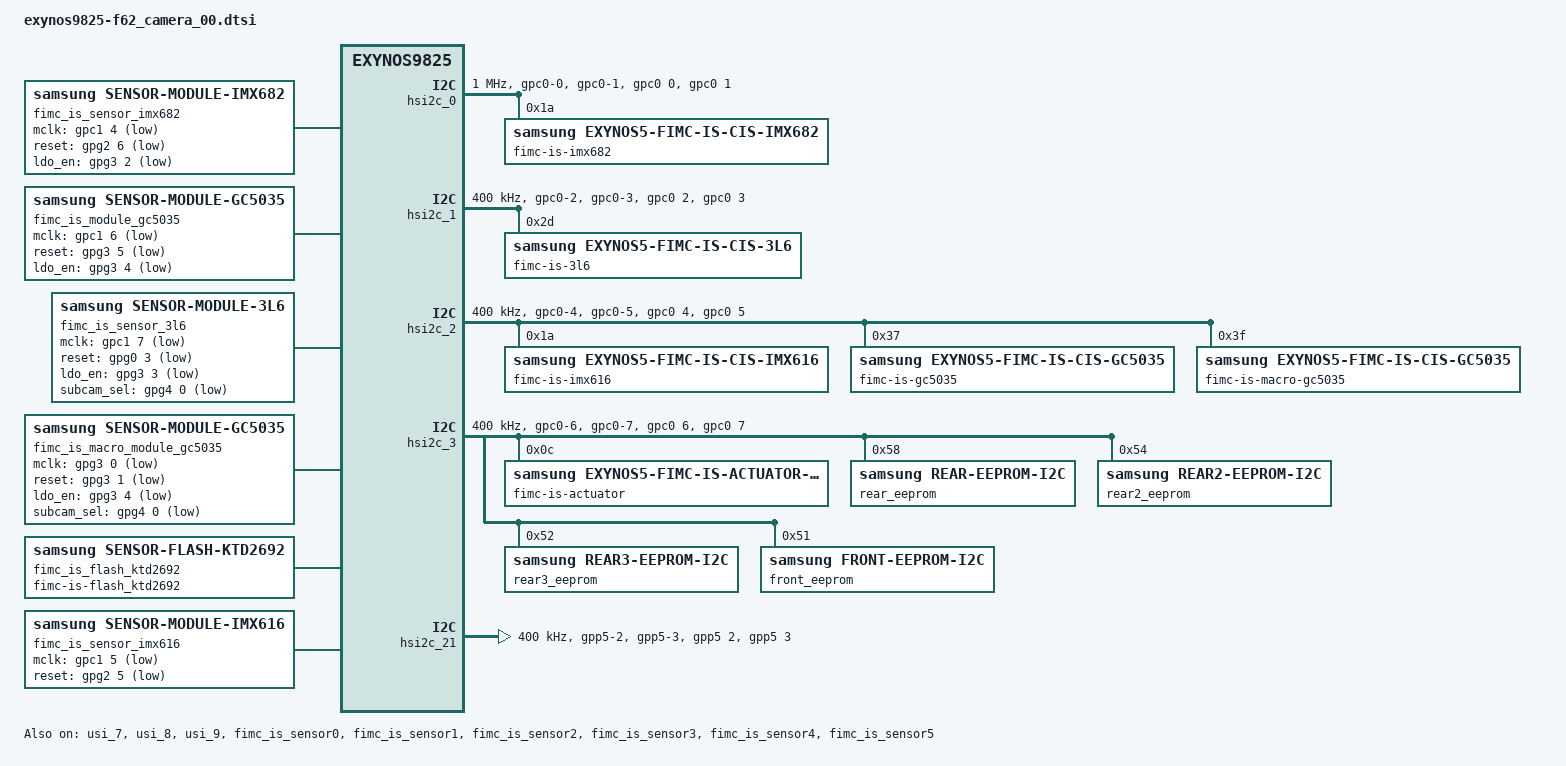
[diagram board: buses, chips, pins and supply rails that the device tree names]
/*
 * SAMSUNG EXYNOS9820 board camera device tree source
 *
 * Copyright (c) 2018 Samsung Electronics Co., Ltd.
 *		http://www.samsung.com
 *
 * This program is free software; you can redistribute it and/or modify
 * it under the terms of the GNU General Public License version 2 as
 * published by the Free Software Foundation.
*/

#include <dt-bindings/camera/fimc_is.h>

/ {
	fragment@camera {
		target-path = "/";
		__overlay__ {
			/* REAR CAMERA */
			fimc_is_sensor_imx682: fimc-is_sensor_imx682@20 {
				compatible = "samsung,sensor-module-imx682";

				pinctrl-names = "pin0", "pin1", "pin2", "release";
				pinctrl-0 = <>;
				pinctrl-1 = <&sensor_mclk0_out>;
				pinctrl-2 = <&sensor_mclk0_fn>;
				pinctrl-3 = <>;

				position = <0>;	/* Rear:0. Front:1. Rear_sub:2. Secure:3. */
				id = <0>;                     /* fimc_is_sensor id */
				mclk_ch = <0>;
				sensor_i2c_ch = <0>; /* SENSOR_CONTROL_I2C0 */

				rom_type = <2>; /* ROM_TYPE_EEPROM */
				rom_id = <0>;
				rom_cal_index = <0>;

				gpio_mclk = <&gpc1 4 0x1>;
				gpio_reset = <&gpg2 6 0x1>; /* sensor reset */
				gpio_ldo_en = <&gpg3 2 0x1>;
				status = "okay";

				af {
					product_name = <27>;     /* ACTUATOR_NAME_DW9818 */
					i2c_addr = <0x18>;
					i2c_ch = <3>;            /* SENSOR_CONTROL_I2C3 */
				};

				flash {
					product_name = <5>; /* FLASH_KTD2692 */
				};

				ois {
					product_name = <100>; /* NOTHING */
				};

				mcu {
					product_name = <100>; /* NOTHING */
				};

				aperture {
					product_name = <100>; /* NOTHING */
				};
			};

			/* REAR Sub CAMERA */
			fimc_is_module_gc5035: fimc-is_sensor_gc5035@6E {
				compatible = "samsung,sensor-module-gc5035";

				pinctrl-names = "pin0", "pin1", "pin2", "release";
				pinctrl-0 = <>;
				pinctrl-1 = <&sensor_mclk2_out>;
				pinctrl-2 = <&sensor_mclk2_fn>;
				pinctrl-3 = <>;

				position = <2>;               /* Rear:0, Front:1, Rear_sub(Rear2):2, Rear_UW(Rear3): 4 */
				id = <2>;                     /* fimc_is_sensor id */
				mclk_ch = <2>;
				sensor_i2c_ch = <2>; /* SENSOR_CONTROL_I2C2 */

				rom_type = <3>; /* ROM_TYPE_OTP */
				rom_id = <0>;
				rom_cal_index = <1>;

				gpio_mclk = <&gpc1 6 0x1>;    /* RCAM2_MCLK */
				gpio_reset = <&gpg3 5 0x1>;   /* RCAM2_RST_N */
				gpio_ldo_en = <&gpg3 4 0x1>;   /* RCAM2_RCAM4_LDO_EN: XGPIO27 - GPG3[4] */
				status = "okay";

			};


			/* REAR Third CAMERA (UW) */
			fimc_is_sensor_3l6: fimc-is_sensor_3l6@5A {
				compatible = "samsung,sensor-module-3l6";

				pinctrl-names = "pin0", "pin1", "pin2", "release";
				pinctrl-0 = <>;
				pinctrl-1 = <&sensor_mclk3_out>;
				pinctrl-2 = <&sensor_mclk3_fn>;
				pinctrl-3 = <>;

				position = <4>;               /* Rear:0, Front:1, Rear_sub(Rear2):2, Rear_UW(Rear3): 4 */
				id = <3>;                     /* fimc_is_sensor id */
				mclk_ch = <3>;

				rom_type = <2>; /* ROM_TYPE_EEPROM */
				rom_id = <2>;
				rom_cal_index = <0>;

				use_avdd_dvdd_share;
				gpio_mclk = <&gpc1 7 0x1>;    /* RCAM3_MCLK */
				gpio_reset = <&gpg0 3 0x1>;   /* RCAM3_RST_N */
				gpio_ldo_en = <&gpg3 3 0x1>;        /* RCAM3_LDO_EN: XGPIO26 - GPG3[3] */
				gpio_subcam_sel = <&gpg4 0 0x1>; /* sub cam sel */
				status = "okay";
			};

			/* REAR Macro CAMERA - REAR Four*/
			fimc_is_macro_module_gc5035: fimc-is_macro_sensor_gc5035@7E {
				compatible = "samsung,sensor-module-gc5035";

				pinctrl-names = "pin0", "pin1", "pin2", "release";
				pinctrl-0 = <>;
				pinctrl-1 = <&sensor_mclk4_out>;
				pinctrl-2 = <&sensor_mclk4_fn>;
				pinctrl-3 = <>;

				position = <6>;               /* Rear:0, Front:1, Rear_sub(Rear2):2, Rear_UW(Rear3): 4, Rear4: 6 */
				id = <4>;                     /* fimc_is_sensor id */
				mclk_ch = <4>;

				rom_type = <2>; /* ROM_TYPE_EEPROM */
				rom_id = <4>;
				rom_cal_index = <0>;

				use_2nd_module;               /* Use GC5035 as MACRO camera sensor*/
				gpio_mclk = <&gpg3 0 0x1>;    /* RCAM4_MCLK */
				gpio_reset = <&gpg3 1 0x1>;   /* RCAM4_RST_N */
				gpio_ldo_en = <&gpg3 4 0x1>;  /* RCAM4_LDO_EN: XGPIO27 - GPG3[4] */
				gpio_subcam_sel = <&gpg4 0 0x1>; /* sub cam sel */

				status = "okay";

				flash {
					product_name = <5>; /* FLASH_KTD2692 */
				};
			};

			fimc_is_flash_ktd2692: fimc-is-flash_ktd2692@0 {
				compatible = "samsung,sensor-flash-ktd2692";
				id = <0 4>; /* matching sensor id */
				status = "okay";
			};

			leds_ktd2692 {
				compatible = "ktd2692";
				flash_control = <&gpg2 3 0x1>;
				max_current = <1500>; /* (IMax) */
				flash_current = <1200>; /* (n/16)xIMax (1<=n<=16) */
				movie_current = <175>; /* (n/16)*IMax/3 (1<=n<=16) */
				factory_current = <175>; /* (n/16)xIMax/3 (1<=n<=16) */
				torch_current = <75>; /* (n/16)xIMax/3 (1<=n<=16) */
				torch_table_enable = <1>;
				torch_table = <1 2 2 3 3 4 4 4 5 5>;
				status = "okay";
				pinctrl-names ="default","host","is";
				pinctrl-0 = <&fimc_is_flash_is>;
				pinctrl-1 = <&fimc_is_flash_host>;
				pinctrl-2 = <&fimc_is_flash_is>;
			};

			/* FRONT CAMERA */
			fimc_is_sensor_imx616: fimc-is_sensor_imx616@34 {
				compatible = "samsung,sensor-module-imx616";

				pinctrl-names = "pin0", "pin1", "pin2", "release";
				pinctrl-0 = <>;
				pinctrl-1 = <&sensor_mclk1_out>;
				pinctrl-2 = <&sensor_mclk1_fn>;
				pinctrl-3 = <>;

				position = <1>;               /* Rear:0, Front:1, Rear_sub(Rear2):2, Rear_UW(Rear3): 4, Rear4: 6 */
				id = <1>;                     /* fimc_is_sensor id */
				mclk_ch = <1>;
				sensor_i2c_ch = <0>;          /* SENSOR_CONTROL_I2C1 */

				rom_type = <2>; /* ROM_TYPE_EEPROM */
				rom_id = <1>;
				rom_cal_index = <0>;
				
				gpio_mclk = <&gpc1 5 0x1>;
				gpio_reset = <&gpg2 5 0x1>;   /* FRONT_RST_N */

				status = "okay";

			};
		}; /* end of __overlay__ */
	}; /* end of fragment */
}; /* end of root */

/***** reference symbol node *****/

&fimc_is {
	pinctrl-names = "default","sleep";
	pinctrl-0 = <>;
	pinctrl-1 = <&cam_sleep_state &cam_sleep_state2 &cam_sleep_state3>;
	secure_mem_info = <0x96000000 0x2200000>;
	non_secure_mem_info = <0x98200000 0xE00000>;
	vender {
		rear_sensor_id = <124>;     /* SENSOR_NAME_IMX682 */
		front_sensor_id = <121>;    /* SENSOR_NAME_IMX616 */
		rear2_sensor_id = <210>;    /* SENSOR_NAME_GC5035 */
		rear3_sensor_id = <59>;     /* SENSOR_NAME_S5K3L6 */
		rear4_sensor_id = <210>;    /* SENSOR_NAME_GC5035 */
		need_i2c_config;
		use_module_check;
		/* skip_cal_loading; */
		check_sensor_vendor;

		max_supported_camera = <4>;// <6>;
		supported_cameraId = <0 3 50 54>;//<0 3 23 50 52 54>;
		/* REAR, FRONT, DUAL_REAR_PORTRAIT_WIDE(Bokeh), REAR_2, REAR_3, REAR_4(Macro) */

		max_camera_num = <7>;
		camera_info0 {             // 0 : sysfs rear
			internal_id = <0>;     // 0 : wide
			isp = <0>;             /* 0 : INT , 1 : EXT , 2 : SOC */
			cal_memory = <2>;      /* 0 : N , 1 : FROM , 2 : EEPROM , 3 : OTP  */
			read_version = <0>;    /* 0 : SYSFS , 1 : CAMON */
			core_voltage = <0>;    /* 0 : N , 1 : Y  */
			upgrade = <0>;         /* 0 : N , 1 : SYSFS , 2 : CAMON */
			fw_write = <0>;        /* 0 : N,  1 : OS, 2 : SD, 3 : ALL */
			fw_dump = <0>;         /* 0 : N , 1 : Y  */
			companion = <0>;       /* 0 : N , 1 : Y  */
			ois = <0>;             /* 0 : N , 1 : Y  */
			valid = <1>;           /* 0 : INVALID, 1 : VALID */
		};
		camera_info1 {             // 1 : sysfs front
			internal_id = <1>;     // 1 : front master
			isp = <0>;             /* 0 : INT , 1 : EXT , 2 : SOC */
			cal_memory = <2>;      /* 0 : N , 1 : FROM , 2 : EEPROM , 3 : OTP  */
			read_version = <0>;    /* 0 : SYSFS , 1 : CAMON */
			core_voltage = <0>;    /* 0 : N , 1 : Y  */
			upgrade = <0>;         /* 0 : N , 1 : SYSFS , 2 : CAMON */
			fw_write = <0>;        /* 0 : N,  1 : OS, 2 : SD, 3 : ALL */
			fw_dump = <0>;         /* 0 : N , 1 : Y  */
			companion = <0>;       /* 0 : N , 1 : Y  */
			ois = <0>;             /* 0 : N , 1 : Y  */
			valid = <1>;           /* 0 : INVALID, 1 : VALID */
		};
		camera_info2 {             // 2 : sysfs rear2
			internal_id = <4>;     // 4 : ultra wide
			isp = <0>;             /* 0 : INT , 1 : EXT , 2 : SOC */
			cal_memory = <2>;      /* 0 : N , 1 : FROM , 2 : EEPROM , 3 : OTP  */
			read_version = <0>;    /* 0 : SYSFS , 1 : CAMON */
			core_voltage = <0>;    /* 0 : N , 1 : Y  */
			upgrade = <0>;         /* 0 : N , 1 : SYSFS , 2 : CAMON */
			fw_write = <0>;        /* 0 : N,  1 : OS, 2 : SD, 3 : ALL */
			fw_dump = <0>;         /* 0 : N , 1 : Y  */
			companion = <0>;       /* 0 : N , 1 : Y  */
			ois = <0>;             /* 0 : N , 1 : Y  */
			valid = <1>;           /* 0 : INVALID, 1 : VALID */
		};
		camera_info3 {             // 3 : sysfs front2
			valid = <0>;           /* 0 : INVALID , 1 : VALID   */
		};
		camera_info4 {             // 4 : sysfs rear3
			internal_id = <2>;     // 2 : tele
			isp = <0>;             /* 0 : INT , 1 : EXT , 2 : SOC */
			cal_memory = <3>;      /* 0 : N , 1 : FROM , 2 : EEPROM , 3 : OTP  */
			read_version = <0>;    /* 0 : SYSFS , 1 : CAMON */
			core_voltage = <0>;    /* 0 : N , 1 : Y  */
			upgrade = <0>;         /* 0 : N , 1 : SYSFS , 2 : CAMON */
			fw_write = <0>;        /* 0 : N,  1 : OS, 2 : SD, 3 : ALL */
			fw_dump = <0>;         /* 0 : N , 1 : Y  */
			companion = <0>;       /* 0 : N , 1 : Y  */
			ois = <1>;             /* 0 : N , 1 : Y  */
			valid = <1>;           /* 0 : INVALID, 1 : VALID */
		};
		camera_info5 {             // 5 : sysfs front3
			valid = <0>;           /* 0 : INVALID , 1 : VALID   */
		};
		camera_info6 {             // 6 : sysfs rear4
			internal_id = <6>;     // 6 : macro
			isp = <0>;             /* 0 : INT , 1 : EXT , 2 : SOC */
			cal_memory = <2>;      /* 0 : N , 1 : FROM , 2 : EEPROM , 3 : OTP  */
			read_version = <0>;    /* 0 : SYSFS , 1 : CAMON */
			core_voltage = <0>;    /* 0 : N , 1 : Y  */
			upgrade = <0>;         /* 0 : N , 1 : SYSFS , 2 : CAMON */
			fw_write = <0>;        /* 0 : N,  1 : OS, 2 : SD, 3 : ALL */
			fw_dump = <0>;         /* 0 : N , 1 : Y  */
			companion = <0>;       /* 0 : N , 1 : Y  */
			ois = <1>;             /* 0 : N , 1 : Y  */
			valid = <1>;           /* 0 : INVALID, 1 : VALID */
		};
	};

	fimc_is_dvfs {
		#define DVFS_INT_CAM_L0 690000
		#define DVFS_INT_CAM_L1 680000
		#define DVFS_INT_CAM_L2 670000
		#define DVFS_INT_CAM_L3 660000
		#define DVFS_INT_CAM_L4 650000
		#define DVFS_INT_CAM_L5 640000
		#define DVFS_INT_CAM_L6 630000

		#define DVFS_INT_L0 534000
		#define DVFS_INT_L1 400000
		#define DVFS_INT_L2 267000
		#define DVFS_INT_L3 200000
		#define DVFS_INT_L4 100000

		#define DVFS_CAM_L0 690000
		#define DVFS_CAM_L1 680000
		#define DVFS_CAM_L2 670000
		#define DVFS_CAM_L3 660000
		#define DVFS_CAM_L4 650000

		#define DVFS_MIF_L0 2094000 /* Currently be disabled */
		#define DVFS_MIF_L1 2093000
		#define DVFS_MIF_L2 1794000
		#define DVFS_MIF_L3 1539000
		#define DVFS_MIF_L4 1352000
		#define DVFS_MIF_L5 1014000
		#define DVFS_MIF_L6 845000
		#define DVFS_MIF_L7 676000
		#define DVFS_MIF_L8 546000
		#define DVFS_MIF_L9 421000

		table0 {
			desc = "dvfs table v0.3 for 12M/10M";

			default_int_cam = <DVFS_INT_CAM_L0>;
			default_cam = <DVFS_CAM_L0>;
			default_mif = <DVFS_MIF_L1>;
			default_int = <DVFS_INT_L4>;
			default_hpg = <1>;

			front2_preview_int_cam = <DVFS_INT_CAM_L5>;
			front2_preview_cam = <DVFS_CAM_L1>;
			front2_preview_mif = <DVFS_MIF_L4>;
			front2_preview_int = <DVFS_INT_L4>;
			front2_preview_hpg = <1>;

			front2_capture_int_cam = <DVFS_INT_CAM_L5>;
			front2_capture_cam = <DVFS_CAM_L1>;
			front2_capture_mif = <DVFS_MIF_L4>;
			front2_capture_int = <DVFS_INT_L4>;
			front2_capture_hpg = <1>;

			front2_video_int_cam = <DVFS_INT_CAM_L5>;
			front2_video_cam = <DVFS_CAM_L1>;
			front2_video_mif = <DVFS_MIF_L4>;
			front2_video_int = <DVFS_INT_L4>;
			front2_video_hpg = <1>;

			front2_video_capture_int_cam = <DVFS_INT_CAM_L5>;
			front2_video_capture_cam = <DVFS_CAM_L1>;
			front2_video_capture_mif = <DVFS_MIF_L4>;
			front2_video_capture_int = <DVFS_INT_L4>;
			front2_video_capture_hpg = <1>;

			front_preview_int_cam = <DVFS_INT_CAM_L5>;
			front_preview_cam = <DVFS_CAM_L1>;
			front_preview_mif = <DVFS_MIF_L4>;
			front_preview_int = <DVFS_INT_L4>;
			front_preview_hpg = <1>;

			front_preview_full_int_cam = <DVFS_INT_CAM_L5>;
			front_preview_full_cam = <DVFS_CAM_L1>;
			front_preview_full_mif = <DVFS_MIF_L4>;
			front_preview_full_int = <DVFS_INT_L4>;
			front_preview_full_hpg = <1>;

			front_capture_int_cam = <DVFS_INT_CAM_L5>;
			front_capture_cam = <DVFS_CAM_L1>;
			front_capture_mif = <DVFS_MIF_L4>;
			front_capture_int = <DVFS_INT_L4>;
			front_capture_hpg = <1>;

			front_video_int_cam = <DVFS_INT_CAM_L5>;
			front_video_cam = <DVFS_CAM_L1>;
			front_video_mif = <DVFS_MIF_L4>;
			front_video_int = <DVFS_INT_L4>;
			front_video_hpg = <1>;

			front_video_whd_int_cam = <DVFS_INT_CAM_L5>;
			front_video_whd_cam = <DVFS_CAM_L1>;
			front_video_whd_mif = <DVFS_MIF_L4>;
			front_video_whd_int = <DVFS_INT_L4>;
			front_video_whd_hpg = <1>;

			front_video_uhd_int_cam = <DVFS_INT_CAM_L5>;
			front_video_uhd_cam = <DVFS_CAM_L1>;
			front_video_uhd_mif = <DVFS_MIF_L4>;
			front_video_uhd_int = <DVFS_INT_L4>;
			front_video_uhd_hpg = <1>;

			front_video_fhd_60fps_int_cam = <DVFS_INT_CAM_L3>;
			front_video_fhd_60fps_cam = <DVFS_CAM_L1>;
			front_video_fhd_60fps_mif = <DVFS_MIF_L4>;
			front_video_fhd_60fps_int = <DVFS_INT_L4>;
			front_video_fhd_60fps_hpg = <1>;

			front_video_uhd_60fps_int_cam = <DVFS_INT_CAM_L3>;
			front_video_uhd_60fps_cam = <DVFS_CAM_L1>;
			front_video_uhd_60fps_mif = <DVFS_MIF_L3>;
			front_video_uhd_60fps_int = <DVFS_INT_L4>;
			front_video_uhd_60fps_hpg = <1>;

			front_video_capture_int_cam = <DVFS_INT_CAM_L5>;
			front_video_capture_cam = <DVFS_CAM_L1>;
			front_video_capture_mif = <DVFS_MIF_L4>;
			front_video_capture_int = <DVFS_INT_L4>;
			front_video_capture_hpg = <1>;

			front_video_whd_capture_int_cam = <DVFS_INT_CAM_L5>;
			front_video_whd_capture_cam = <DVFS_CAM_L1>;
			front_video_whd_capture_mif = <DVFS_MIF_L4>;
			front_video_whd_capture_int = <DVFS_INT_L4>;
			front_video_whd_capture_hpg = <1>;

			front_video_uhd_capture_int_cam = <DVFS_INT_CAM_L5>;
			front_video_uhd_capture_cam = <DVFS_CAM_L1>;
			front_video_uhd_capture_mif = <DVFS_MIF_L4>;
			front_video_uhd_capture_int = <DVFS_INT_L4>;
			front_video_uhd_capture_hpg = <1>;

			front_video_uhd_60fps_capture_int_cam = <DVFS_INT_CAM_L4>;
			front_video_uhd_60fps_capture_cam = <DVFS_CAM_L1>;
			front_video_uhd_60fps_capture_mif = <DVFS_MIF_L3>;
			front_video_uhd_60fps_capture_int = <DVFS_INT_L4>;
			front_video_uhd_60fps_capture_hpg = <1>;

			front_video_fhd_60fps_capture_int_cam = <DVFS_INT_CAM_L3>;
			front_video_fhd_60fps_capture_cam = <DVFS_CAM_L1>;
			front_video_fhd_60fps_capture_mif = <DVFS_MIF_L3>;
			front_video_fhd_60fps_capture_int = <DVFS_INT_L4>;
			front_video_fhd_60fps_capture_hpg = <1>;

			front_dual_sync_preview_int_cam = <DVFS_INT_CAM_L3>;
			front_dual_sync_preview_cam = <DVFS_CAM_L1>;
			front_dual_sync_preview_mif = <DVFS_MIF_L4>;
			front_dual_sync_preview_int = <DVFS_INT_L4>;
			front_dual_sync_preview_hpg = <1>;

			front_dual_sync_capture_int_cam = <DVFS_INT_CAM_L3>;
			front_dual_sync_capture_cam = <DVFS_CAM_L1>;
			front_dual_sync_capture_mif = <DVFS_MIF_L3>;
			front_dual_sync_capture_int = <DVFS_INT_L4>;
			front_dual_sync_capture_hpg = <1>;

			front_dual_sync_video_fhd_int_cam = <DVFS_INT_CAM_L3>;
			front_dual_sync_video_fhd_cam = <DVFS_CAM_L1>;
			front_dual_sync_video_fhd_mif = <DVFS_MIF_L4>;
			front_dual_sync_video_fhd_int = <DVFS_INT_L4>;
			front_dual_sync_video_fhd_hpg = <1>;

			front_dual_sync_video_fhd_capture_int_cam = <DVFS_INT_CAM_L3>;
			front_dual_sync_video_fhd_capture_cam = <DVFS_CAM_L1>;
			front_dual_sync_video_fhd_capture_mif = <DVFS_MIF_L3>;
			front_dual_sync_video_fhd_capture_int = <DVFS_INT_L4>;
			front_dual_sync_video_fhd_capture_hpg = <1>;

			front_vt1_int_cam = <DVFS_INT_CAM_L5>;
			front_vt1_cam = <DVFS_CAM_L1>;
			front_vt1_mif = <DVFS_MIF_L4>;
			front_vt1_int = <DVFS_INT_L4>;
			front_vt1_hpg = <1>;

			front_vt2_int_cam = <DVFS_INT_CAM_L5>;
			front_vt2_cam = <DVFS_CAM_L1>;
			front_vt2_mif = <DVFS_MIF_L4>;
			front_vt2_int = <DVFS_INT_L4>;
			front_vt2_hpg = <1>;

			front_vt4_int_cam = <DVFS_INT_CAM_L5>;
			front_vt4_cam = <DVFS_CAM_L1>;
			front_vt4_mif = <DVFS_MIF_L4>;
			front_vt4_int = <DVFS_INT_L4>;
			front_vt4_hpg = <1>;

			front_preview_high_speed_fps_int_cam = <DVFS_INT_CAM_L5>;
			front_preview_high_speed_fps_cam = <DVFS_CAM_L1>;
			front_preview_high_speed_fps_mif = <DVFS_MIF_L4>;
			front_preview_high_speed_fps_int = <DVFS_INT_L4>;
			front_preview_high_speed_fps_hpg = <1>;

			front_video_high_speed_120fps_int_cam = <DVFS_INT_CAM_L3>;
			front_video_high_speed_120fps_cam = <DVFS_CAM_L1>;
			front_video_high_speed_120fps_mif = <DVFS_MIF_L3>;
			front_video_high_speed_120fps_int = <DVFS_INT_L4>;
			front_video_high_speed_120fps_hpg = <1>;

			front_video_high_speed_240fps_int_cam = <DVFS_INT_CAM_L3>;
			front_video_high_speed_240fps_cam = <DVFS_CAM_L1>;
			front_video_high_speed_240fps_mif = <DVFS_MIF_L3>;
			front_video_high_speed_240fps_int = <DVFS_INT_L4>;
			front_video_high_speed_240fps_hpg = <1>;

			rear4_preview_fhd_int_cam = <DVFS_INT_CAM_L5>;
			rear4_preview_fhd_cam = <DVFS_CAM_L1>;
			rear4_preview_fhd_mif = <DVFS_MIF_L4>;
			rear4_preview_fhd_int = <DVFS_INT_L4>;
			rear4_preview_fhd_hpg = <1>;

			rear4_capture_int_cam = <DVFS_INT_CAM_L3>;
			rear4_capture_cam = <DVFS_CAM_L1>;
			rear4_capture_mif = <DVFS_MIF_L4>;
			rear4_capture_int = <DVFS_INT_L4>;
			rear4_capture_hpg = <1>;

			rear3_preview_fhd_int_cam = <DVFS_INT_CAM_L5>;
			rear3_preview_fhd_cam = <DVFS_CAM_L1>;
			rear3_preview_fhd_mif = <DVFS_MIF_L4>;
			rear3_preview_fhd_int = <DVFS_INT_L4>;
			rear3_preview_fhd_hpg = <1>;

			rear3_capture_int_cam = <DVFS_INT_CAM_L3>;
			rear3_capture_cam = <DVFS_CAM_L1>;
			rear3_capture_mif = <DVFS_MIF_L4>;
			rear3_capture_int = <DVFS_INT_L4>;
			rear3_capture_hpg = <1>;

			rear3_video_fhd_int_cam = <DVFS_INT_CAM_L4>;
			rear3_video_fhd_cam = <DVFS_CAM_L1>;
			rear3_video_fhd_mif = <DVFS_MIF_L4>;
			rear3_video_fhd_int = <DVFS_INT_L4>;
			rear3_video_fhd_hpg = <1>;

			rear3_video_fhd_capture_int_cam = <DVFS_INT_CAM_L3>;
			rear3_video_fhd_capture_cam = <DVFS_CAM_L1>;
			rear3_video_fhd_capture_mif = <DVFS_MIF_L4>;
			rear3_video_fhd_capture_int = <DVFS_INT_L4>;
			rear3_video_fhd_capture_hpg = <1>;

			rear2_preview_fhd_int_cam = <DVFS_INT_CAM_L5>;
			rear2_preview_fhd_cam = <DVFS_CAM_L1>;
			rear2_preview_fhd_mif = <DVFS_MIF_L4>;
			rear2_preview_fhd_int = <DVFS_INT_L4>;
			rear2_preview_fhd_hpg = <1>;

			rear2_capture_int_cam = <DVFS_INT_CAM_L3>;
			rear2_capture_cam = <DVFS_CAM_L1>;
			rear2_capture_mif = <DVFS_MIF_L4>;
			rear2_capture_int = <DVFS_INT_L4>;
			rear2_capture_hpg = <1>;

			rear2_video_fhd_int_cam = <DVFS_INT_CAM_L4>;
			rear2_video_fhd_cam = <DVFS_CAM_L1>;
			rear2_video_fhd_mif = <DVFS_MIF_L4>;
			rear2_video_fhd_int = <DVFS_INT_L4>;
			rear2_video_fhd_hpg = <1>;

			rear2_video_fhd_capture_int_cam = <DVFS_INT_CAM_L3>;
			rear2_video_fhd_capture_cam = <DVFS_CAM_L1>;
			rear2_video_fhd_capture_mif = <DVFS_MIF_L4>;
			rear2_video_fhd_capture_int = <DVFS_INT_L4>;
			rear2_video_fhd_capture_hpg = <1>;

			rear_preview_fhd_int_cam = <DVFS_INT_CAM_L5>;
			rear_preview_fhd_cam = <DVFS_CAM_L1>;
			rear_preview_fhd_mif = <DVFS_MIF_L4>;
			rear_preview_fhd_int = <DVFS_INT_L4>;
			rear_preview_fhd_hpg = <1>;

			rear_preview_whd_int_cam = <DVFS_INT_CAM_L5>;
			rear_preview_whd_cam = <DVFS_CAM_L1>;
			rear_preview_whd_mif = <DVFS_MIF_L4>;
			rear_preview_whd_int = <DVFS_INT_L4>;
			rear_preview_whd_hpg = <1>;

			rear_preview_uhd_int_cam = <DVFS_INT_CAM_L5>;
			rear_preview_uhd_cam = <DVFS_CAM_L1>;
			rear_preview_uhd_mif = <DVFS_MIF_L4>;
			rear_preview_uhd_int = <DVFS_INT_L4>;
			rear_preview_uhd_hpg = <1>;

			rear_preview_uhd_60fps_int_cam = <DVFS_INT_CAM_L3>;
			rear_preview_uhd_60fps_cam = <DVFS_CAM_L1>;
			rear_preview_uhd_60fps_mif = <DVFS_MIF_L3>;
			rear_preview_uhd_60fps_int = <DVFS_INT_L4>;
			rear_preview_uhd_60fps_hpg = <1>;

			rear_preview_full_int_cam = <DVFS_INT_CAM_L3>;
			rear_preview_full_cam = <DVFS_CAM_L1>;
			rear_preview_full_mif = <DVFS_MIF_L4>;
			rear_preview_full_int = <DVFS_INT_L4>;
			rear_preview_full_hpg = <1>;

			rear_capture_int_cam = <DVFS_INT_CAM_L3>;
			rear_capture_cam = <DVFS_CAM_L1>;
			rear_capture_mif = <DVFS_MIF_L4>;
			rear_capture_int = <DVFS_INT_L4>;
			rear_capture_hpg = <1>;

			rear_video_fhd_int_cam = <DVFS_INT_CAM_L4>;
			rear_video_fhd_cam = <DVFS_CAM_L1>;
			rear_video_fhd_mif = <DVFS_MIF_L4>;
			rear_video_fhd_int = <DVFS_INT_L4>;
			rear_video_fhd_hpg = <1>;

			rear_video_whd_int_cam = <DVFS_INT_CAM_L5>;
			rear_video_whd_cam = <DVFS_CAM_L1>;
			rear_video_whd_mif = <DVFS_MIF_L4>;
			rear_video_whd_int = <DVFS_INT_L4>;
			rear_video_whd_hpg = <1>;

			rear_video_uhd_int_cam = <DVFS_INT_CAM_L3>;
			rear_video_uhd_cam = <DVFS_CAM_L1>;
			rear_video_uhd_mif = <DVFS_MIF_L4>;
			rear_video_uhd_int = <DVFS_INT_L4>;
			rear_video_uhd_hpg = <1>;

			rear_video_uhd_60fps_int_cam = <DVFS_INT_CAM_L4>;
			rear_video_uhd_60fps_cam = <DVFS_CAM_L1>;
			rear_video_uhd_60fps_mif = <DVFS_MIF_L3>;
			rear_video_uhd_60fps_int = <DVFS_INT_L4>;
			rear_video_uhd_60fps_hpg = <1>;

			rear_video_fhd_capture_int_cam = <DVFS_INT_CAM_L3>;
			rear_video_fhd_capture_cam = <DVFS_CAM_L1>;
			rear_video_fhd_capture_mif = <DVFS_MIF_L4>;
			rear_video_fhd_capture_int = <DVFS_INT_L4>;
			rear_video_fhd_capture_hpg = <1>;

			rear_video_whd_capture_int_cam = <DVFS_INT_CAM_L3>;
			rear_video_whd_capture_cam = <DVFS_CAM_L1>;
			rear_video_whd_capture_mif = <DVFS_MIF_L4>;
			rear_video_whd_capture_int = <DVFS_INT_L4>;
			rear_video_whd_capture_hpg = <1>;

			rear_video_uhd_capture_int_cam = <DVFS_INT_CAM_L3>;
			rear_video_uhd_capture_cam = <DVFS_CAM_L1>;
			rear_video_uhd_capture_mif = <DVFS_MIF_L4>;
			rear_video_uhd_capture_int = <DVFS_INT_L4>;
			rear_video_uhd_capture_hpg = <1>;

			dual_preview_int_cam = <DVFS_INT_CAM_L5>;
			dual_preview_cam = <DVFS_CAM_L1>;
			dual_preview_mif = <DVFS_MIF_L4>;
			dual_preview_int = <DVFS_INT_L4>;
			dual_preview_hpg = <1>;

			dual_capture_int_cam = <DVFS_INT_CAM_L3>;
			dual_capture_cam = <DVFS_CAM_L1>;
			dual_capture_mif = <DVFS_MIF_L4>;
			dual_capture_int = <DVFS_INT_L4>;
			dual_capture_hpg = <1>;

			dual_video_fhd_int_cam = <DVFS_INT_CAM_L4>;
			dual_video_fhd_cam = <DVFS_CAM_L1>;
			dual_video_fhd_mif = <DVFS_MIF_L4>;
			dual_video_fhd_int = <DVFS_INT_L4>;
			dual_video_fhd_hpg = <1>;

			dual_video_fhd_capture_int_cam = <DVFS_INT_CAM_L3>;
			dual_video_fhd_capture_cam = <DVFS_CAM_L1>;
			dual_video_fhd_capture_mif = <DVFS_MIF_L4>;
			dual_video_fhd_capture_int = <DVFS_INT_L4>;
			dual_video_fhd_capture_hpg = <1>;

			dual_video_uhd_int_cam = <DVFS_INT_CAM_L3>;
			dual_video_uhd_cam = <DVFS_CAM_L1>;
			dual_video_uhd_mif = <DVFS_MIF_L4>;
			dual_video_uhd_int = <DVFS_INT_L4>;
			dual_video_uhd_hpg = <1>;

			dual_video_uhd_capture_int_cam = <DVFS_INT_CAM_L3>;
			dual_video_uhd_capture_cam = <DVFS_CAM_L1>;
			dual_video_uhd_capture_mif = <DVFS_MIF_L4>;
			dual_video_uhd_capture_int = <DVFS_INT_L4>;
			dual_video_uhd_capture_hpg = <1>;

			dual_sync_preview_int_cam = <DVFS_INT_CAM_L3>;
			dual_sync_preview_cam = <DVFS_CAM_L1>;
			dual_sync_preview_mif = <DVFS_MIF_L4>;
			dual_sync_preview_int = <DVFS_INT_L4>;
			dual_sync_preview_hpg = <1>;

			dual_sync_capture_int_cam = <DVFS_INT_CAM_L3>;
			dual_sync_capture_cam = <DVFS_CAM_L1>;
			dual_sync_capture_mif = <DVFS_MIF_L3>;
			dual_sync_capture_int = <DVFS_INT_L3>;
			dual_sync_capture_hpg = <1>;

			dual_sync_preview_whd_int_cam = <DVFS_INT_CAM_L3>;
			dual_sync_preview_whd_cam = <DVFS_CAM_L1>;
			dual_sync_preview_whd_mif = <DVFS_MIF_L3>;
			dual_sync_preview_whd_int = <DVFS_INT_L4>;
			dual_sync_preview_whd_hpg = <1>;

			dual_sync_whd_capture_int_cam = <DVFS_INT_CAM_L3>;
			dual_sync_whd_capture_cam = <DVFS_CAM_L1>;
			dual_sync_whd_capture_mif = <DVFS_MIF_L3>;
			dual_sync_whd_capture_int = <DVFS_INT_L4>;
			dual_sync_whd_capture_hpg = <1>;

			dual_sync_video_fhd_int_cam = <DVFS_INT_CAM_L3>;
			dual_sync_video_fhd_cam = <DVFS_CAM_L1>;
			dual_sync_video_fhd_mif = <DVFS_MIF_L4>;
			dual_sync_video_fhd_int = <DVFS_INT_L4>;
			dual_sync_video_fhd_hpg = <1>;

			dual_sync_video_fhd_capture_int_cam = <DVFS_INT_CAM_L3>;
			dual_sync_video_fhd_capture_cam = <DVFS_CAM_L1>;
			dual_sync_video_fhd_capture_mif = <DVFS_MIF_L3>;
			dual_sync_video_fhd_capture_int = <DVFS_INT_L4>;
			dual_sync_video_fhd_capture_hpg = <1>;

			dual_sync_video_uhd_int_cam = <DVFS_INT_CAM_L3>;
			dual_sync_video_uhd_cam = <DVFS_CAM_L1>;
			dual_sync_video_uhd_mif = <DVFS_MIF_L4>;
			dual_sync_video_uhd_int = <DVFS_INT_L4>;
			dual_sync_video_uhd_hpg = <1>;

			dual_sync_video_uhd_capture_int_cam = <DVFS_INT_CAM_L3>;
			dual_sync_video_uhd_capture_cam = <DVFS_CAM_L1>;
			dual_sync_video_uhd_capture_mif = <DVFS_MIF_L3>;
			dual_sync_video_uhd_capture_int = <DVFS_INT_L4>;
			dual_sync_video_uhd_capture_hpg = <1>;

			secure_front_int_cam = <DVFS_INT_CAM_L5>;
			secure_front_cam = <DVFS_CAM_L1>;
			secure_front_mif = <DVFS_MIF_L4>;
			secure_front_int = <DVFS_INT_L4>;
			secure_front_hpg = <1>;

			pip_preview_int_cam = <DVFS_INT_CAM_L3>;
			pip_preview_cam = <DVFS_CAM_L1>;
			pip_preview_mif = <DVFS_MIF_L4>;
			pip_preview_int = <DVFS_INT_L4>;
			pip_preview_hpg = <1>;

			pip_capture_int_cam = <DVFS_INT_CAM_L3>;
			pip_capture_cam = <DVFS_CAM_L1>;
			pip_capture_mif = <DVFS_MIF_L4>;
			pip_capture_int = <DVFS_INT_L4>;
			pip_capture_hpg = <1>;

			pip_video_int_cam = <DVFS_INT_CAM_L3>;
			pip_video_cam = <DVFS_CAM_L1>;
			pip_video_mif = <DVFS_MIF_L4>;
			pip_video_int = <DVFS_INT_L4>;
			pip_video_hpg = <1>;

			pip_video_capture_int_cam = <DVFS_INT_CAM_L3>;
			pip_video_capture_cam = <DVFS_CAM_L1>;
			pip_video_capture_mif = <DVFS_MIF_L4>;
			pip_video_capture_int = <DVFS_INT_L4>;
			pip_video_capture_hpg = <1>;

			preview_high_speed_fps_int_cam = <DVFS_INT_CAM_L5>;
			preview_high_speed_fps_cam = <DVFS_CAM_L1>;
			preview_high_speed_fps_mif = <DVFS_MIF_L4>;
			preview_high_speed_fps_int = <DVFS_INT_L4>;
			preview_high_speed_fps_hpg = <1>;

			video_high_speed_60fps_int_cam = <DVFS_INT_CAM_L3>;
			video_high_speed_60fps_cam = <DVFS_CAM_L1>;
			video_high_speed_60fps_mif = <DVFS_MIF_L4>;
			video_high_speed_60fps_int = <DVFS_INT_L4>;
			video_high_speed_60fps_hpg = <1>;

			video_high_speed_120fps_int_cam = <DVFS_INT_CAM_L3>;
			video_high_speed_120fps_cam = <DVFS_CAM_L1>;
			video_high_speed_120fps_mif = <DVFS_MIF_L4>;
			video_high_speed_120fps_int = <DVFS_INT_L4>;
			video_high_speed_120fps_hpg = <1>;

			video_high_speed_240fps_int_cam = <DVFS_INT_CAM_L3>;
			video_high_speed_240fps_cam = <DVFS_CAM_L1>;
			video_high_speed_240fps_mif = <DVFS_MIF_L3>;
			video_high_speed_240fps_int = <DVFS_INT_L4>;
			video_high_speed_240fps_hpg = <1>;

			video_high_speed_dualfps_int_cam = <DVFS_INT_CAM_L3>;
			video_high_speed_dualfps_cam = <DVFS_CAM_L1>;
			video_high_speed_dualfps_mif = <DVFS_MIF_L3>;
			video_high_speed_dualfps_int = <DVFS_INT_L4>;
			video_high_speed_dualfps_hpg = <6>;

			video_high_speed_60fps_capture_int_cam = <DVFS_INT_CAM_L3>;
			video_high_speed_60fps_capture_cam = <DVFS_CAM_L1>;
			video_high_speed_60fps_capture_mif = <DVFS_MIF_L3>;
			video_high_speed_60fps_capture_int = <DVFS_INT_L4>;
			video_high_speed_60fps_capture_hpg = <1>;

			ext_rear_int_cam = <DVFS_INT_CAM_L5>;
			ext_rear_cam = <DVFS_CAM_L1>;
			ext_rear_mif = <DVFS_MIF_L4>;
			ext_rear_int = <DVFS_INT_L4>;
			ext_rear_hpg = <1>;

			ext_front_int_cam = <DVFS_INT_CAM_L5>;
			ext_front_cam = <DVFS_CAM_L1>;
			ext_front_mif = <DVFS_MIF_L4>;
			ext_front_int = <DVFS_INT_L4>;
			ext_front_hpg = <1>;

			ext_secure_int_cam = <DVFS_INT_CAM_L5>;
			ext_secure_cam = <DVFS_CAM_L3>;
			ext_secure_mif = <DVFS_MIF_L4>;
			ext_secure_int = <DVFS_INT_L4>;
			ext_secure_hpg = <1>;

			max_int_cam = <DVFS_INT_CAM_L0>;
			max_cam = <DVFS_CAM_L0>;
			max_mif = <DVFS_MIF_L1>;
			max_int = <DVFS_INT_L0>;
			max_hpg = <1>;
		};
	};
};

&pinctrl_6 {
	/* PERIC1 CAM0 */
	hsi2c0_bus_in: hsi2c0-bus-in {
		samsung,pins = "gpc0-0", "gpc0-1";
		samsung,pin-function = <0>;
		samsung,pin-pud = <0>;
		samsung,pin-drv = <0>;
		samsung,pin-pud-pdn = <0>;
	};

	/* PERIC1 CAM1 */
	hsi2c1_bus_in: hsi2c1-bus-in {
		samsung,pins = "gpc0-2", "gpc0-3";
		samsung,pin-function = <0>;
		samsung,pin-pud = <0>;
		samsung,pin-drv = <0>;
	};

	/* PERIC1 CAM2 */
	hsi2c2_bus_in: hsi2c2-bus-in {
		samsung,pins = "gpc0-4", "gpc0-5";
		samsung,pin-function = <0>;
		samsung,pin-pud = <0>;
		samsung,pin-drv = <0>;
	};

	/* PERIC1 CAM3 */
	hsi2c3_bus_in: hsi2c3-bus-in {
		samsung,pins = "gpc0-6", "gpc0-7";
		samsung,pin-function = <0>;
		samsung,pin-pud = <0>;
		samsung,pin-drv = <0>;
	};

	/* PERIC1 USI08_I2C */
	hsi2c21_bus_in: hsi2c21-bus-in {
		samsung,pins = "gpp5-2", "gpp5-3";
		samsung,pin-function = <0>;
		samsung,pin-pud = <0>;
		samsung,pin-drv = <0>;
	};

	/* PERIC1 USI09 */
	hsi2c22_bus_in: hsi2c22-bus-in {
		samsung,pins = "gpp5-4", "gpp5-5";
		samsung,pin-function = <0>;
		samsung,pin-pud = <0>;
		samsung,pin-drv = <0>;
	};

	/* PERIC1 CAM0 */
	from_spi_pin0_out: from-spi-pin0-out {
		samsung,pins = "gpc1-2", "gpc1-1", "gpc1-0";
		samsung,pin-function = <1>;
		samsung,pin-pud = <1>;
		samsung,pin-drv = <0>;
		samsung,pin-val = <0>;
	};

	from_spi_pin0_fn: from-spi-pin0-fn {
		samsung,pins = "gpc1-2", "gpc1-1", "gpc1-0";
		samsung,pin-function = <2>;
		samsung,pin-pud = <0>;
		samsung,pin-drv = <0>;
		samsung,pin-val = <0>;
	};

	from_spi_ssn0_out: from-spi-ssn0-out {
		samsung,pins = "gpc1-3";
		samsung,pin-function = <1>;
		samsung,pin-pud = <0>;
		samsung,pin-drv = <0>;
	};

	from_spi_ssn0_fn: from-spi-ssn0-fn {
		samsung,pins = "gpc1-3";
		samsung,pin-function = <2>;
		samsung,pin-pud = <0>;
		samsung,pin-drv = <0>;
	};

	from_spi_ssn0_inpd: from-spi-ssn0-inpd {
		samsung,pins = "gpc1-3";
		samsung,pin-function = <0>;
		samsung,pin-pud = <1>;
		samsung,pin-drv = <0>;
	};

	from_spi_ssn0_inpu: from-spi-ssn0-inpu {
		samsung,pins = "gpc1-3";
		samsung,pin-function = <0>;
		samsung,pin-pud = <3>;
		samsung,pin-drv = <0>;
	};

	hsi2c37_bus_in: hsi2c37-bus-in {
		samsung,pins = "gph0-4", "gph0-5";
		samsung,pin-function = <0>;
		samsung,pin-pud = <0>;
		samsung,pin-drv = <0>;
	};

	cam_sleep_state: cam_sleep_state {
		samsung,pins = "gpg3-4", "gpg3-3", "gpg3-2";
		samsung,pin-con-pdn = <0>;
	};
};

&pinctrl_2 {
	gpm29: gpm29 {
		samsung,pins = "gpm29-0";
		samsung,pin-function = <1>;
		samsung,pin-pud = <0>;
		samsung,pin-drv = <0>;
	};
};

&pinctrl_5{
	gpg0: gpg0 {
		samsung,pins = "gpg0-6";
		samsung,pin-function = <1>;
		samsung,pin-pud = <0>;
		samsung,pin-drv = <0>;
	};

	fimc_is_flash_host: fimc-is-flash-host {
		samsung,pins = "gpg2-3";
		samsung,pin-function = <1>; /* 0: input, 1:output*/
		samsung,pin-pud = <0>; /* 0: NP, 1: PD, 2: reserved 3:PU */
		samsung,pin-drv = <0>;
	};

	fimc_is_flash_is: fimc-is-flash-is {
		samsung,pins = "gpg2-3";
		samsung,pin-function = <0>; /* 0: input, 1:output*/
		samsung,pin-pud = <1>; /* 0: NP, 1: PD, 2: reserved 3:PU */
		samsung,pin-drv = <0>;
		samsung,pin-con-pdn = <3>;
	};

	cam_sleep_state2: cam_sleep_state2 {
		samsung,pins = "gpg2-6";
		samsung,pin-con-pdn = <0>;
	};

	cam_sleep_state3: cam_sleep_state3 {
		samsung,pins = "gpg4-0";
		samsung,pin-con-pdn = <3>;
		samsung,pin-pud-pdn = <0>;
	};
};

&usi_7 {
	usi_v2_mode = "i2c";
	status = "okay";
};

&usi_8 {
	usi_v2_mode = "i2c";
	status = "okay";
};

&usi_9 {
	usi_v2_mode = "i2c";
	status = "okay";
};

/* PERIC1 CAM0 */
&hsi2c_0 {
	#address-cells = <1>;
	#size-cells = <0>;
	gpios = <&gpc0 0 0 &gpc0 1 0>;
	status = "okay";
	clock-frequency = <1000000>;
	samsung,reset-before-trans;
	samsung,fast-plus-mode;

	pinctrl-names = "default","on_i2c","off_i2c";
	pinctrl-0 = <&hsi2c0_bus_in>;
	pinctrl-1 = <&hsi2c0_bus>;
	pinctrl-2 = <&hsi2c0_bus_in>;

	fimc-is-imx682@34 {
		compatible = "samsung,exynos5-fimc-is-cis-imx682";
		reg = <0x1A>;                /* 1 bit right shift */
		id = <0>;                    /* matching fimc_is_sensor id */
		sensor_f_number = <180>;     /* f number 1.8 */
		setfile = "setB";            /* first Setfile of MCD is 'setB' */
	};
};

/* PERIC1 CAM1 */
&hsi2c_1 {
	#address-cells = <1>;
	#size-cells = <0>;
	gpios = <&gpc0 2 0 &gpc0 3 0>;
	status = "okay";
	clock-frequency = <400000>;
	samsung,reset-before-trans;

	pinctrl-names = "default","on_i2c","off_i2c";
	pinctrl-0 = <&hsi2c1_bus_in>;
	pinctrl-1 = <&hsi2c1_bus>;
	pinctrl-2 = <&hsi2c1_bus_in>;

	fimc-is-3l6@5A {
		compatible = "samsung,exynos5-fimc-is-cis-3l6";
		reg = <0x2D>;                /* 1 bit right shift */
		id = <3>;                    /* matching fimc_is_sensor id */
		sensor_f_number = <220>;     /* f number 2.2 */
		setfile = "setB";
	};

};

/* PERIC1 CAM2 */
&hsi2c_2 {
	#address-cells = <1>;
	#size-cells = <0>;
	gpios = <&gpc0 4 0 &gpc0 5 0>;
	status = "okay";
	clock-frequency = <400000>;
	samsung,reset-before-trans;

	pinctrl-names = "default","on_i2c","off_i2c";
	pinctrl-0 = <&hsi2c2_bus_in>;
	pinctrl-1 = <&hsi2c2_bus>;
	pinctrl-2 = <&hsi2c2_bus_in>;

	fimc-is-imx616@34 {
		compatible = "samsung,exynos5-fimc-is-cis-imx616";
		reg = <0x1A>;               /* 1 bit right shift */
		id = <1>;                   /* matching fimc_is_sensor id */
		sensor_f_number = <220>;    /* f number 2.2 */
		setfile = "setB";
		use_initial_ae;             /* for initial AE of face unlock */
	};

	fimc-is-gc5035@6E {
		compatible = "samsung,exynos5-fimc-is-cis-gc5035";
		reg = <0x37>;                /* 1 bit right shift */
		id = <2>;                    /* matching fimc_is_sensor id */
		sensor_bayer_order = <1>;    /* RGGB (Using setA) */
		sensor_f_number = <240>;     /* f number 2.4 */
		/* setfile = "setA"; */      /* Setfile is selected by sensor_bayer_order */
		use_initial_ae;              /* for initial AE of bokeh */
	};
	
	fimc-is-macro-gc5035@7E {
		compatible = "samsung,exynos5-fimc-is-cis-gc5035";
		reg = <0x3F>;                /* 1 bit right shift */
		id = <4>;                    /* matching fimc_is_sensor id */
		sensor_bayer_order = <1>;    /* RGGB (Using setA) */
		sensor_f_number = <240>;     /* f number 2.4 */
		/* setfile = "setA"; */      /* Setfile is selected by sensor_bayer_order */
	};
};

/* PERI1 CAM3 */
&hsi2c_3 {
	#address-cells = <1>;
	#size-cells = <0>;
	gpios = <&gpc0 6 0 &gpc0 7 0>;
	status = "okay";
	clock-frequency = <400000>;
	samsung,reset-before-trans;

	pinctrl-names = "default","on_i2c","off_i2c";
	pinctrl-0 = <&hsi2c3_bus_in>;
	pinctrl-1 = <&hsi2c3_bus>;
	pinctrl-2 = <&hsi2c3_bus_in>;

	fimc-is-actuator@18 {
		compatible = "samsung,exynos5-fimc-is-actuator-dw9818";
		reg = <0x0C>;
		id = <0>;                    /* matching sensor id */
	};

	rear_eeprom@B0 {
		compatible = "samsung,rear-eeprom-i2c";
		reg = <0x58>;
		rom_power_position = <0>;
		rom_size = <0x4000>;
		cal_map_es_version = <22>;
		camera_module_es_version = "A";
		/* skip_header_loading; */
		/* skip_crc_check; */
		/* skip_cal_loading; */

		/* M62_Rear_Cal_Map_V022_20201105_for_LSI */
		/* 0 header */
		header_crc_check_list = <0x0000 0x01FB 0x01FC>;
		/* 0 master LSC  */
		/* 1 master all */
		/* 2 Crosstalk cal data */
		/* 3 dual cal */
		crc_check_list = <0x0200 0x15FB 0x15FC
						0x1600 0x283F 0x28FC
						0x2900 0x36DF 0x36FC
						0x3700 0x3F0B 0x3FFC>;

		/* Master */
		rom_header_version_start_addr = <0x50>;
		rom_header_cal_data_start_addr = <0x200>;

		rom_header_cal_map_ver_start_addr = <0x70>;
		rom_header_isp_setfile_ver_start_addr = <0x74>;
		rom_header_project_name_start_addr = <0x7E>;

		rom_header_module_id_addr = <0xAE>;
		rom_header_sensor_id_addr = <0xB8>;
		rom_header_mtf_data_addr = <0xE0>;

		rom_awb_master_addr = <0x2660>;
		rom_awb_module_addr = <0x2684>;

		rom_af_cal_macro_addr = <0x2640>;
		rom_af_cal_d30_addr = <0x2638>;
		rom_af_cal_pan_addr = <0x2634>;

		/* Rear Crosstalk Cal data */
		rom_xtc_cal_data_start_addr = <0x2900>;
		rom_xtc_cal_data_size = <3552>;		/* including checksum */
		rom_xtc_cal_data_addr_list = <0x2900 0x34D4>;
	};

	rear2_eeprom@A8 {	/* Ultra wide eeprom */
		compatible = "samsung,rear2-eeprom-i2c";
		reg = <0x54>;
		rom_power_position = <4>;
		rom_size = <0x2000>;
		cal_map_es_version = <19>;
		camera_module_es_version = "M";
		/* skip_header_loading; */
		/* skip_crc_check; */
		/* skip_cal_loading; */

		/* M62_Rear_Cal_Map_V022_20201105_for_LSI */
		/* 0 header */
		header_crc_check_list = <0x0000 0x00FB 0x00FC>;
		/* 0 master LSC */
		/* 1 master all */
		/* 2 master color */
		crc_check_list = <0x0100 0x1AFB 0x1AFC
						0x1B00 0x1BDF 0x1BFC
						0x1C00 0x1CFB 0x1CFC>;

		/* Master */
		rom_header_version_start_addr = <0x40>;
		rom_header_cal_data_start_addr = <0x100>;

		rom_header_cal_map_ver_start_addr = <0x50>;
		rom_header_isp_setfile_ver_start_addr = <0x54>;
		rom_header_project_name_start_addr = <0x5E>;

		rom_header_module_id_addr = <0xAE>; /* 0xA8 + reserved bytes */
		rom_header_sensor_id_addr = <0xB8>;
		rom_header_mtf_data_addr = <0x66>;

		rom_awb_master_addr = <0x1B00>;
		rom_awb_module_addr = <0x1B24>;
	};

	rear3_eeprom@A4 {	/* Macro wide eeprom */
		compatible = "samsung,rear3-eeprom-i2c";
		reg = <0x52>;
		rom_power_position = <6>;
		rom_size = <0x2000>;
		cal_map_es_version = <22>;
		camera_module_es_version = "A";
		/* skip_header_loading; */
		/* skip_crc_check; */
		/* skip_cal_loading; */

		/*M62_Rear_Cal_Map_V022_20201105_for_LSI*/
		header_crc_check_list = <0x0000 0x00FB 0x00FC>;

		crc_check_list = <0x0100 0x14FB 0x14FC 0x1500 0x16DF 0x16FC>;

		/* Master */
		rom_header_version_start_addr = <0x40>;
		rom_header_cal_data_start_addr = <0x100>;

		rom_header_cal_map_ver_start_addr = <0x50>;
		rom_header_isp_setfile_ver_start_addr = <0x54>;
		rom_header_project_name_start_addr = <0x5E>;

		rom_header_module_id_addr = <0xAE>; /* 0xA8 + reserved bytes */
		rom_header_sensor_id_addr = <0xB8>;

		rom_header_mtf_data_addr = <0x66>;

		rom_awb_master_addr = <0x1530>;
		rom_awb_module_addr = <0x1554>;
	};

	front_eeprom@A2 {
		compatible = "samsung,front-eeprom-i2c";
		reg = <0x51>;
		rom_power_position = <1>;
		rom_size = <0x2000>;
		cal_map_es_version = <12>;
		camera_module_es_version = "A";
		/* skip_header_loading; */
		/* skip_crc_check; */
		/* skip_cal_loading; */

		/* M62_Front_Cal_Map_V010_20201006_for_LSI */
		/* 0 header */
		header_crc_check_list = <0x0000 0x01FB 0x01FC>;
		/* 0 Camera 1 */
		/* 1 Crosstalk Cal Data */
		crc_check_list = <0x0200 0x16DF 0x16FC
						0x1700 0x1EDF 0x1EFC>;

		/* Master */
		rom_header_version_start_addr = <0x30>;
		rom_header_cal_data_start_addr = <0x200>;

		rom_header_cal_map_ver_start_addr = <0x50>;
		/* rom_header_isp_setfile_ver_start_addr = <>; */
		rom_header_project_name_start_addr = <0x5C>;

		rom_header_module_id_addr = <0xAE>; /* 0xA8 + reserved bytes */
		rom_header_sensor_id_addr = <0xB8>;
		rom_header_mtf_data_addr = <0xF0>;

		rom_awb_master_addr = <0x0230>;
		rom_awb_module_addr = <0x023C>;

		/* Front Crosstalk Cal data */
		rom_xtc_cal_data_start_addr = <0x1700>;
		rom_xtc_cal_data_size = <2016>;
		rom_xtc_cal_data_addr_list = <0x1700 0x1D18>;
	};
};

/* USI08_USI_I2C */
&hsi2c_21 {
	#address-cells = <1>;
	#size-cells = <0>;
	gpios = <&gpp5 2 0 &gpp5 3 0>;
	status = "okay";
	clock-frequency = <400000>;
	samsung,reset-before-trans;

	pinctrl-names = "default","on_i2c","off_i2c";
	pinctrl-0 = <&hsi2c21_bus_in>;
	pinctrl-1 = <&hsi2c21_bus>;
	pinctrl-2 = <&hsi2c21_bus_in>;

};

/* Rear Wide */
&fimc_is_sensor0 {
	scenario = <SENSOR_SCENARIO_NORMAL>;	/* Normal, Vision, OIS etc */
	id = <0>;
	csi_ch = <0>;
	dma_ch = <0 0 0 0 0 4 4 4>;
	vc_ch = <0 1 2 3 0 1 2 3>;
	flite_ch = <FLITE_ID_NOTHING>;
	use_ssvc1_internal;
	is_bns = <0>;
	status = "okay";
};

/* Front */
&fimc_is_sensor1 {
	scenario = <SENSOR_SCENARIO_NORMAL>;	/* Normal, Vision, OIS etc */
	id = <1>;
	csi_ch = <2>;
	dma_ch = <2 2 2 2 2 2 2 2>;
	vc_ch = <0 1 2 3 0 1 2 3>;
	flite_ch = <FLITE_ID_NOTHING>;
	is_bns = <0>;
	status = "okay";
};

/* Macro  */
&fimc_is_sensor2 {
	scenario = <SENSOR_SCENARIO_NORMAL>;	/* Normal, Vision, OIS etc */
	id = <4>;
	csi_ch = <1>;
	dma_ch = <1 1 1 1>;
	vc_ch = <0 1 2 3>;
	flite_ch = <FLITE_ID_NOTHING>;
	is_bns = <0>;
	status = "okay";
};

/* Bokeh */
&fimc_is_sensor3 {
	scenario = <SENSOR_SCENARIO_NORMAL>;	/* Normal, Vision, OIS etc */
	id = <2>;
	csi_ch = <4>;
	dma_ch = <3 3 3 3>;
	vc_ch = <0 1 2 3>;
	flite_ch = <FLITE_ID_NOTHING>;
	is_bns = <0>;
	status = "okay";
};

/* U-W */
&fimc_is_sensor4 {
	scenario = <SENSOR_SCENARIO_NORMAL>;	/* Normal, Vision, OIS etc */
	id = <3>;
	csi_ch = <1>;
	dma_ch = <1 1 1 1>;
	vc_ch = <0 1 2 3>;
	flite_ch = <FLITE_ID_NOTHING>;
	is_bns = <0>;
	status = "okay";
};

&fimc_is_sensor5 {
	scenario = <SENSOR_SCENARIO_NORMAL>;	/* Normal, Vision, OIS etc */
	id = <5>;
	csi_ch = <1>;
	dma_ch = <1 1 1 1>;
	vc_ch = <0 1 2 3>;
	flite_ch = <FLITE_ID_NOTHING>;
	is_bns = <0>;
	status = "okay";
};
